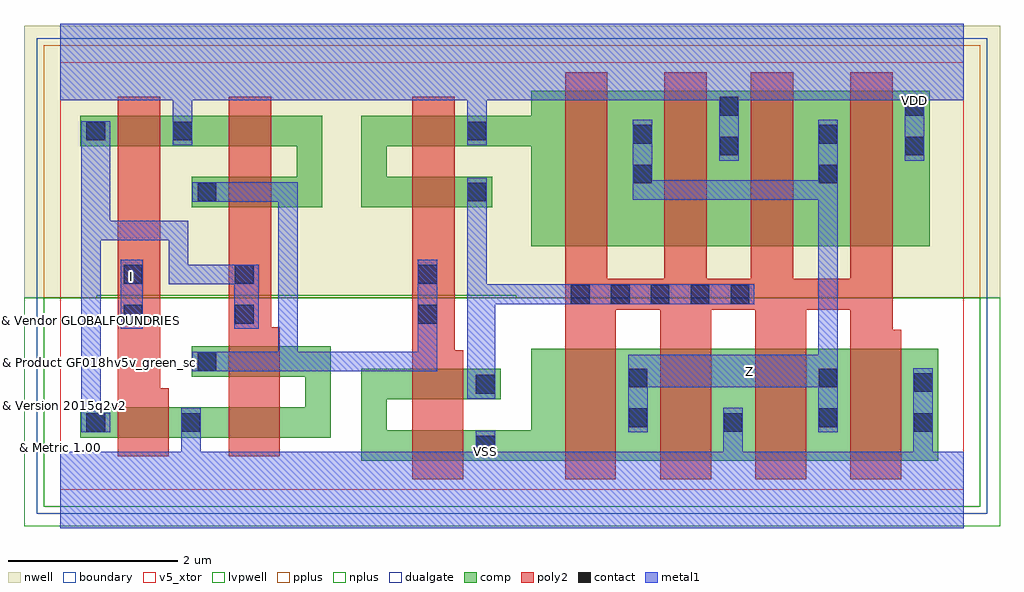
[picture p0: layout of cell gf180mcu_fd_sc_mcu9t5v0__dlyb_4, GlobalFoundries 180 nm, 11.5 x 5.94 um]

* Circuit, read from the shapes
.subckt gf180mcu_fd_sc_mcu9t5v0__dlyb_4 I VDD VSS Z
XM1 VSS I n1 VSUBS nfet_05v0 w=0.36u l=0.6u
XM2 n2 n1 VSS VSUBS nfet_05v0 w=0.36u l=0.6u
XM3 n2 n1 n3 VSUBS nfet_05v0 w=0.36u l=0.6u
XM4 VSS n3 n4 VSUBS nfet_05v0 w=0.36u l=0.6u
XM5 n5 n3 n4 VSUBS nfet_05v0 w=0.36u l=0.6u
XM6 Z n5 VSS VSUBS nfet_05v0 w=1.32u l=0.6u m=4
XM7 VDD I n1 n6 pfet_05v0 w=0.36u l=0.5u
XM8 n7 n1 n3 n6 pfet_05v0 w=0.36u l=0.5u
XM9 n7 n1 VDD n6 pfet_05v0 w=0.36u l=0.5u
XM10 n5 n3 n8 n6 pfet_05v0 w=0.36u l=0.5u
XM11 VDD n3 n8 n6 pfet_05v0 w=0.36u l=0.5u
XM12 Z n5 VDD n6 pfet_05v0 w=1.83u l=0.5u m=4
.ends

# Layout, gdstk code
import gdstk
lib = gdstk.Library(unit=1e-6, precision=1e-09)
def R(c, l, rs):  # rectangles x0, y0, x1, y1
    for r in rs: c.add(gdstk.rectangle(r[:2], r[2:], *l))
def A(c, l, x, y, w, h, nx, ny, dx, dy):  # array of equal rectangles
    R(c, l, [(x+i*dx, y+j*dy, x+i*dx+w, y+j*dy+h) for i in range(nx) for j in range(ny)])
def P(c, l, *ps):  # polygons
    for p in ps: c.add(gdstk.Polygon(p, *l))
boundary = (0, 0)
nwell = (21, 0)
comp = (22, 0)
poly2 = (30, 0)
pplus = (31, 0)
nplus = (32, 0)
contact = (33, 0)
metal1 = (34, 0)
dualgate = (55, 0)
v5_xtor = (112, 1)
lvpwell = (204, 0)

gf180mcu_fd_sc_mcu9t5v0_ = lib.new_cell('gf180mcu_fd_sc_mcu9t5v0__dlyb_4')
R(gf180mcu_fd_sc_mcu9t5v0_, boundary, [(0,0,10.64,5.04)])
P(gf180mcu_fd_sc_mcu9t5v0_, nwell, [(-0.43,2.265),(-0.43,5.47),(11.07,5.47),(11.07,2.265),(5.37,2.265),(5.37,2.295),(0.43,2.295),(0.43,2.265)])
P(gf180mcu_fd_sc_mcu9t5v0_, comp, [(1.545,3.33),(1.545,3.69),(2.785,3.69),(2.785,4.05),(0.235,4.05),(0.235,4.41),(3.085,4.41),(3.085,3.33)],
  [(0.235,0.615),(0.235,0.975),(2.885,0.975),(2.885,1.335),(1.545,1.335),(1.545,1.695),(3.185,1.695),(3.185,0.615)],
  [(5.545,2.87),(5.545,4.05),(3.845,4.05),(3.845,3.69),(5.085,3.69),(5.085,3.33),(3.545,3.33),(3.545,4.41),(5.545,4.41),(5.545,4.7),(10.245,4.7),(10.245,2.87)],
  [(3.545,0.345),(3.545,1.425),(5.185,1.425),(5.185,1.065),(3.845,1.065),(3.845,0.705),(5.545,0.705),(5.545,1.665),(10.345,1.665),(10.345,0.345)])
P(gf180mcu_fd_sc_mcu9t5v0_, poly2, [(0.675,0.395),(0.675,4.63),(1.175,4.63),(1.175,1.195),(1.275,1.195),(1.275,0.395)],
  [(1.985,0.395),(1.985,4.63),(2.485,4.63),(2.485,1.915),(2.585,1.915),(2.585,0.395)],
  [(4.145,0.125),(4.145,4.63),(4.645,4.63),(4.645,1.645),(4.745,1.645),(4.745,0.125)],
  [(5.945,0.125),(5.945,4.92),(6.445,4.92),(6.445,2.485),(7.115,2.485),(7.115,4.92),(7.615,4.92),(7.615,2.485),(8.135,2.485),(8.135,4.92),(8.635,4.92),(8.635,2.485),(9.305,2.485),(9.305,4.92),(9.805,4.92),(9.805,1.885),(9.905,1.885),(9.905,0.125),(9.305,0.125),(9.305,2.125),(8.785,2.125),(8.785,0.125),(8.185,0.125),(8.185,2.125),(7.665,2.125),(7.665,0.125),(7.065,0.125),(7.065,2.125),(6.545,2.125),(6.545,0.125)])
R(gf180mcu_fd_sc_mcu9t5v0_, pplus, [(-0.2,2.265,10.84,5.24)])
R(gf180mcu_fd_sc_mcu9t5v0_, nplus, [(-0.2,-0.2,10.84,2.265)])
A(gf180mcu_fd_sc_mcu9t5v0_, contact, 6.015, 2.195, 0.22, 0.22, 5, 1, 0.47, 0)
R(gf180mcu_fd_sc_mcu9t5v0_, contact, [(4.895,0.415,5.115,0.635), (0.305,0.685,0.525,0.905), (1.425,0.685,1.645,0.905), (7.815,0.685,8.035,0.905), (10.055,0.685,10.275,0.905), (6.695,0.74,6.915,0.96), (8.935,0.74,9.155,0.96), (4.895,1.135,5.115,1.355), (10.055,1.155,10.275,1.375), (6.695,1.21,6.915,1.43), (8.935,1.21,9.155,1.43), (1.615,1.405,1.835,1.625), (0.745,1.96,0.965,2.18), (2.055,1.96,2.275,2.18), (4.215,1.96,4.435,2.18), (0.745,2.43,0.965,2.65), (2.055,2.43,2.275,2.65), (4.215,2.43,4.435,2.65), (1.615,3.4,1.835,3.62), (4.795,3.4,5.015,3.62), (6.745,3.61,6.965,3.83), (8.935,3.61,9.155,3.83), (7.765,3.94,7.985,4.16), (9.955,3.94,10.175,4.16), (6.745,4.08,6.965,4.3), (8.935,4.08,9.155,4.3), (0.305,4.12,0.525,4.34), (1.325,4.12,1.545,4.34), (4.795,4.12,5.015,4.34), (7.765,4.41,7.985,4.63), (9.955,4.41,10.175,4.63)])
R(gf180mcu_fd_sc_mcu9t5v0_, metal1, [(0.71,1.9,0.97,2.71)])
P(gf180mcu_fd_sc_mcu9t5v0_, metal1, [(0.245,0.68),(0.245,4.345),(0.585,4.345),(0.585,3.17),(1.505,3.17),(1.505,2.655),(2.335,2.655),(2.335,1.9),(2.05,1.9),(2.05,2.425),(1.275,2.425),(1.275,2.94),(0.475,2.94),(0.475,0.91),(0.585,0.91),(0.585,0.68)],
  [(1.555,1.4),(1.555,1.63),(2.565,1.63),(2.565,3.395),(1.555,3.395),(1.555,3.625),(2.795,3.625),(2.795,1.63),(4.21,1.63),(4.21,2.71),(4.44,2.71),(4.44,1.4)],
  [(4.79,1.075),(4.79,3.68),(5.02,3.68),(5.02,2.42),(8.175,2.42),(8.175,2.19),(5.12,2.19),(5.12,1.075)],
  [(6.69,0.68),(6.69,1.59),(8.93,1.59),(8.93,3.42),(6.74,3.42),(6.74,4.36),(6.97,4.36),(6.97,3.65),(8.93,3.65),(8.93,4.36),(9.16,4.36),(9.16,0.68),(8.93,0.68),(8.93,1.21),(6.92,1.21),(6.92,0.68)],
  [(0,-0.45),(0,0.45),(1.42,0.45),(1.42,0.965),(1.65,0.965),(1.65,0.45),(4.89,0.45),(4.89,0.695),(5.12,0.695),(5.12,0.45),(7.81,0.45),(7.81,0.965),(8.04,0.965),(8.04,0.45),(10.05,0.45),(10.05,1.435),(10.28,1.435),(10.28,0.45),(10.64,0.45),(10.64,-0.45)],
  [(7.76,3.88),(7.76,4.59),(5.02,4.59),(5.02,4.06),(4.79,4.06),(4.79,4.59),(1.55,4.59),(1.55,4.06),(1.32,4.06),(1.32,4.59),(0,4.59),(0,5.49),(10.64,5.49),(10.64,4.59),(10.18,4.59),(10.18,3.88),(9.95,3.88),(9.95,4.59),(7.99,4.59),(7.99,3.88)])
R(gf180mcu_fd_sc_mcu9t5v0_, dualgate, [(-0.28,-0.28,10.92,5.32)])
R(gf180mcu_fd_sc_mcu9t5v0_, v5_xtor, [(0,0,10.64,5.04)])
P(gf180mcu_fd_sc_mcu9t5v0_, lvpwell, [(-0.43,-0.43),(-0.43,2.265),(0.43,2.265),(0.43,2.295),(5.37,2.295),(5.37,2.265),(11.07,2.265),(11.07,-0.43)])
gf180mcu_fd_sc_mcu9t5v0_.add(gdstk.Label('I', (0.84,2.52), layer=34, texttype=10))
gf180mcu_fd_sc_mcu9t5v0_.add(gdstk.Label('VDD', (10.065,4.59), layer=34, texttype=10))
gf180mcu_fd_sc_mcu9t5v0_.add(gdstk.Label('VSS', (5.005,0.45), layer=34, texttype=10))
gf180mcu_fd_sc_mcu9t5v0_.add(gdstk.Label('Z', (8.12,1.4), layer=34, texttype=10))
gf180mcu_fd_sc_mcu9t5v0_.add(gdstk.Label('& Vendor GLOBALFOUNDRIES', (0,2), layer=63, texttype=63))
gf180mcu_fd_sc_mcu9t5v0_.add(gdstk.Label('& Product GF018hv5v_green_sc9', (0,1.5), layer=63, texttype=63))
gf180mcu_fd_sc_mcu9t5v0_.add(gdstk.Label('& Version 2015q2v2', (0,1), layer=63, texttype=63))
gf180mcu_fd_sc_mcu9t5v0_.add(gdstk.Label('& Metric 1.00', (0,0.5), layer=63, texttype=63))

lib.write_gds('gf180mcu_fd_sc_mcu9t5v0__dlyb_4.gds')
